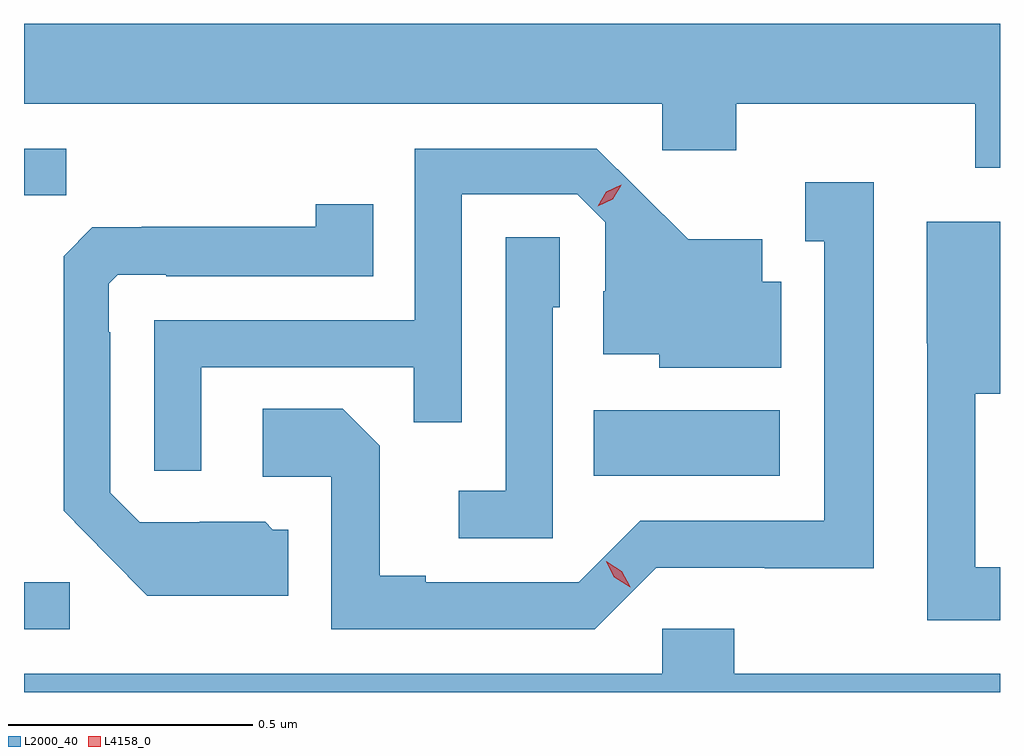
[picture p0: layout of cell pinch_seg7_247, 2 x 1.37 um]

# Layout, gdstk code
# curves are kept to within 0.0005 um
import gdstk
lib = gdstk.Library(unit=1e-6, precision=1e-09)
def R(c, l, rs):  # rectangles x0, y0, x1, y1
    for r in rs: c.add(gdstk.rectangle(r[:2], r[2:], *l))
def P(c, l, *ps):  # polygons
    for p in ps: c.add(gdstk.Polygon(p, *l))
L2000_40 = (2000, 40)
L4158_0 = (4158, 0)

pinch_seg7_247 = lib.new_cell('pinch_seg7_247')
R(pinch_seg7_247, L2000_40, [(858.144,1003.536,858.238,1003.632), (859.312,1003.85,859.693,1003.984), (858.144,1004.425,858.231,1004.52)])
P(pinch_seg7_247, L2000_40, [(860.144,1004.776),(858.144,1004.776),(858.144,1004.612),(859.452,1004.612),(859.452,1004.517),(859.604,1004.517),(859.604,1004.612),(860.093,1004.612),(860.093,1004.481),(860.144,1004.481)],
  [(858.507,1004.073),(858.943,1004.073),(858.943,1003.96),(859.041,1003.96),(859.041,1004.427),(859.278,1004.427),(859.335,1004.37),(859.335,1004.228),(859.331,1004.228),(859.331,1004.099),(859.446,1004.099),(859.446,1004.072),(859.696,1004.072),(859.696,1004.248),(859.657,1004.248),(859.657,1004.335),(859.505,1004.335),(859.318,1004.52),(858.945,1004.52),(858.945,1004.169),(858.411,1004.169),(858.411,1003.86),(858.507,1003.86)],
  [(859.44,1003.662),(859.662,1003.662),(859.662,1003.661),(859.885,1003.661),(859.885,1004.452),(859.745,1004.452),(859.745,1004.331),(859.784,1004.331),(859.784,1003.758),(859.407,1003.758),(859.281,1003.632),(858.967,1003.632),(858.967,1003.645),(858.873,1003.645),(858.873,1003.912),(858.797,1003.988),(858.633,1003.988),(858.633,1003.848),(858.774,1003.848),(858.774,1003.536),(859.314,1003.536)],
  [(858.685,1003.74),(858.654,1003.74),(858.638,1003.756),(858.504,1003.756),(858.504,1003.755),(858.381,1003.755),(858.321,1003.815),(858.321,1004.144),(858.318,1004.144),(858.318,1004.244),(858.336,1004.262),(858.436,1004.262),(858.436,1004.259),(858.86,1004.259),(858.86,1004.407),(858.742,1004.407),(858.742,1004.36),(858.385,1004.36),(858.385,1004.359),(858.284,1004.359),(858.225,1004.3),(858.225,1003.778),(858.397,1003.604),(858.685,1003.604)],
  [(860.144,1003.663),(860.093,1003.663),(860.093,1004.018),(860.144,1004.018),(860.144,1004.371),(859.994,1004.371),(859.994,1004.122),(859.995,1004.122),(859.995,1003.554),(860.144,1003.554)],
  [(859.227,1004.196),(859.242,1004.196),(859.242,1004.339),(859.131,1004.339),(859.131,1003.819),(859.035,1003.819),(859.035,1003.722),(859.227,1003.722)],
  [(860.144,1003.444),(859.599,1003.444),(859.599,1003.537),(859.452,1003.537),(859.452,1003.444),(858.144,1003.444),(858.144,1003.407),(860.144,1003.407)])
P(pinch_seg7_247, L4158_0, [(859.386,1003.622),(859.354,1003.642),(859.337,1003.674),(859.337,1003.675),(859.337,1003.675),(859.369,1003.655),(859.386,1003.623),(859.386,1003.622)],
  [(859.32,1004.402),(859.32,1004.402),(859.337,1004.432),(859.368,1004.447),(859.368,1004.447),(859.368,1004.446),(859.35,1004.417),(859.32,1004.402)])

lib.write_gds('pinch_seg7_247.gds')
